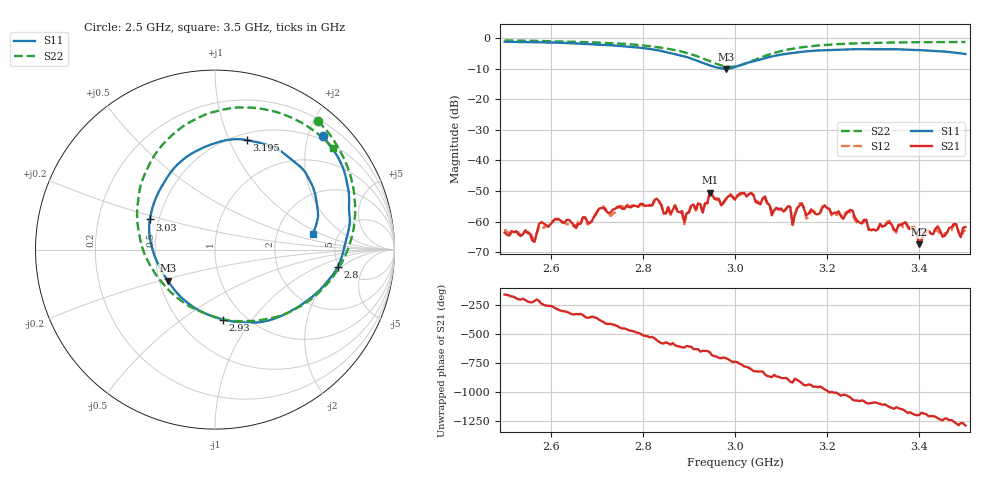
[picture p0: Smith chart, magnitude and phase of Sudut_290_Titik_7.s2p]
# Hz S RI R 50
! CMT, C1220, 16058040, 17.2.0/1
! Date: 15/08/2018 10:11:03
! Data: Format (Calibration Info)
! Freq  S11: Re/Im (F2)  S21: Re/Im (F2)  S12: Re/Im (F2)  S22: Re/Im (F2)
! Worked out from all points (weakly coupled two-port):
!   201 points, 2.5 GHz to 3.5 GHz, reference 50 ohm
!   highest |S21| = -50.56 dB at 2.945 GHz (marker M1); lowest = -67.4 dB at 3.4 GHz (marker M2)
!   lowest |S11| = -10.0 dB at 2.98 GHz (marker M3), VSWR 1.92, Z = 27.7 - j10.6 ohm
!   |S11| at or under -10 dB: 2.975346 GHz to 2.982363 GHz (7.017 MHz wide, 0.236 % of centre)
!   |S22| runs from -9.3 to -0.7 dB; largest |S21 - S12| = 0.00026
!   S11 on the Smith chart (normalised r, x): 2.5 GHz: 0.42, +2.25; 2.8 GHz: 4.77, -1.75; 2.93 GHz: 0.80, -0.73; 3.03 GHz: 0.45, +0.18; 3.195 GHz: 0.57, +1.17; 3.5 GHz: 3.23, +0.79
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2.5e9  0.5994 0.6352  -0.000612 -0.000259  -0.0007 -0.000269  0.5733 0.7164
2.565e9  0.6675 0.542  -0.000394 0.000248  -0.000386 0.00032  0.6457 0.6332
2.58e9  0.6846 0.5157  -0.000544 0.000821  -0.000432 0.000724  0.6614 0.6097
2.67e9  0.7455 0.3178  0.00107 0.000495  0.00109 0.000402  0.7446 0.4434
2.8e9  0.6827 -0.0964  -0.00167 -0.00097  -0.00152 -0.00102  0.7592 0.0594
2.835e9  0.5886 -0.2208  -0.00196 0.000903  -0.00193 0.000829  0.7035 -0.0779
2.89e9  0.3202 -0.3887  -0.000256 0.000968  -0.000231 0.000876  0.5079 -0.2955
2.905e9  0.2243 -0.4065  -0.000644 0.0017  -0.000652 0.00174  0.4228 -0.3439
2.93e9  0.0462 -0.3902  0.000348 0.00138  0.000311 0.00137  0.2539 -0.3927
2.945e9  -0.06 -0.3534  0.00129 0.00267  0.00123 0.00273  0.1391 -0.399
2.98e9  -0.2634 -0.173  0.00227 0.000486  0.00224 0.000518  -0.1375 -0.3189
3e9  -0.3365 -0.0348  0.00218 -0.000733  0.0021 -0.000854  -0.2734 -0.2092
3.03e9  -0.3631 0.1682  0.000923 -0.00265  0.000952 -0.00264  -0.4048 0.00965
3.12e9  -0.0841 0.5592  -0.00171 0.000358  -0.00169 0.000452  -0.2772 0.6007
3.125e9  -0.0639 0.5688  -0.000854 0.00028  -0.000829 0.000281  -0.2571 0.6207
3.14e9  -0.00509 0.5916  -0.00182 0.000278  -0.00197 0.00028  -0.1974 0.6723
3.17e9  0.0989 0.6142  -0.00083 0.00121  -0.000925 0.00118  -0.0772 0.7419
3.195e9  0.1788 0.6098  -0.000324 0.00181  -0.000284 0.00182  0.0164 0.7729
3.335e9  0.4942 0.4418  0.000617 -0.000745  0.00062 -0.000821  0.4086 0.7429
3.39e9  0.5499 0.3366  -0.000347 -0.00067  -0.000359 -0.000727  0.5097 0.6915
3.4e9  0.5561 0.3162  -0.000205 -0.000374  -0.000206 -0.00034  0.5256 0.68
3.5e9  0.5436 0.085  -0.000704 0.00041  -0.0006 0.000419  0.6571 0.5643
